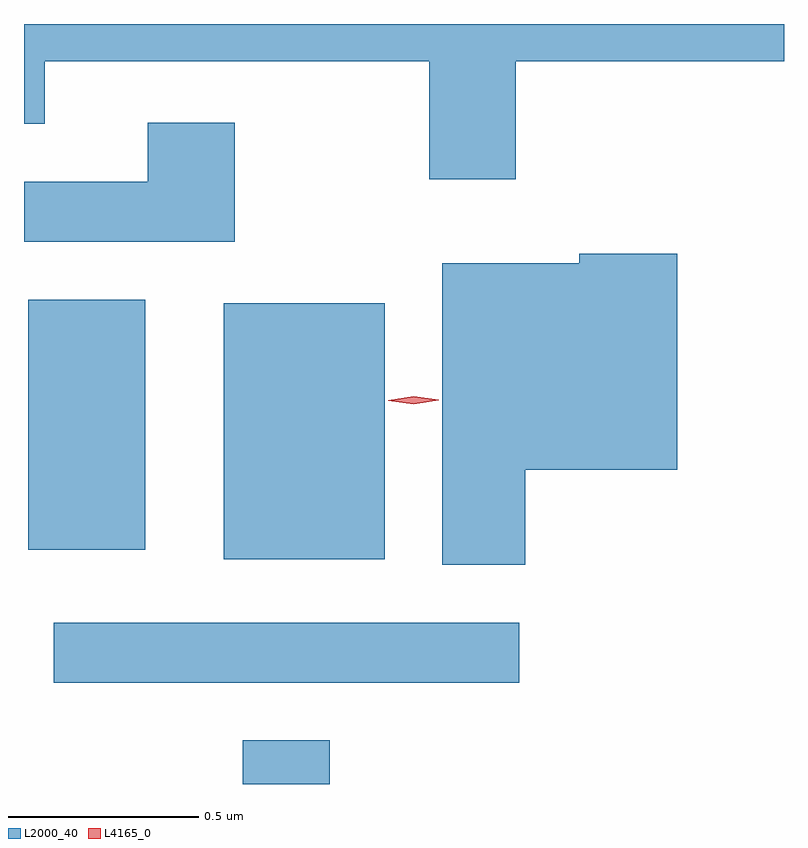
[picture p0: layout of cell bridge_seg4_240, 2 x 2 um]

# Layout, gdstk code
import gdstk
lib = gdstk.Library(unit=1e-6, precision=1e-09)
def R(c, l, rs):  # rectangles x0, y0, x1, y1
    for r in rs: c.add(gdstk.rectangle(r[:2], r[2:], *l))
def P(c, l, *ps):  # polygons
    for p in ps: c.add(gdstk.Polygon(p, *l))
L2000_40 = (2000, 40)
L4165_0 = (4165, 0)

bridge_seg4_240 = lib.new_cell('bridge_seg4_240')
R(bridge_seg4_240, L2000_40, [(609.911,1374.974,610.139,1375.089), (609.413,1375.241,610.638,1375.399), (609.861,1375.566,610.284,1376.239), (609.346,1375.591,609.654,1376.249)])
P(bridge_seg4_240, L2000_40, [(610.629,1376.876),(611.335,1376.876),(611.335,1376.974),(609.335,1376.974),(609.335,1376.711),(609.389,1376.711),(609.389,1376.876),(610.401,1376.876),(610.401,1376.566),(610.629,1376.566)],
  [(609.889,1376.714),(609.661,1376.714),(609.661,1376.559),(609.335,1376.559),(609.335,1376.401),(609.889,1376.401)],
  [(610.654,1375.801),(611.054,1375.801),(611.054,1376.369),(610.796,1376.369),(610.796,1376.344),(610.436,1376.344),(610.436,1375.551),(610.654,1375.551)])
P(bridge_seg4_240, L4165_0, [(610.36,1375.974),(610.294,1375.983),(610.293,1375.983),(610.294,1375.984),(610.36,1375.994),(610.426,1375.985),(610.426,1375.985),(610.426,1375.984)])

lib.write_gds('bridge_seg4_240.gds')
